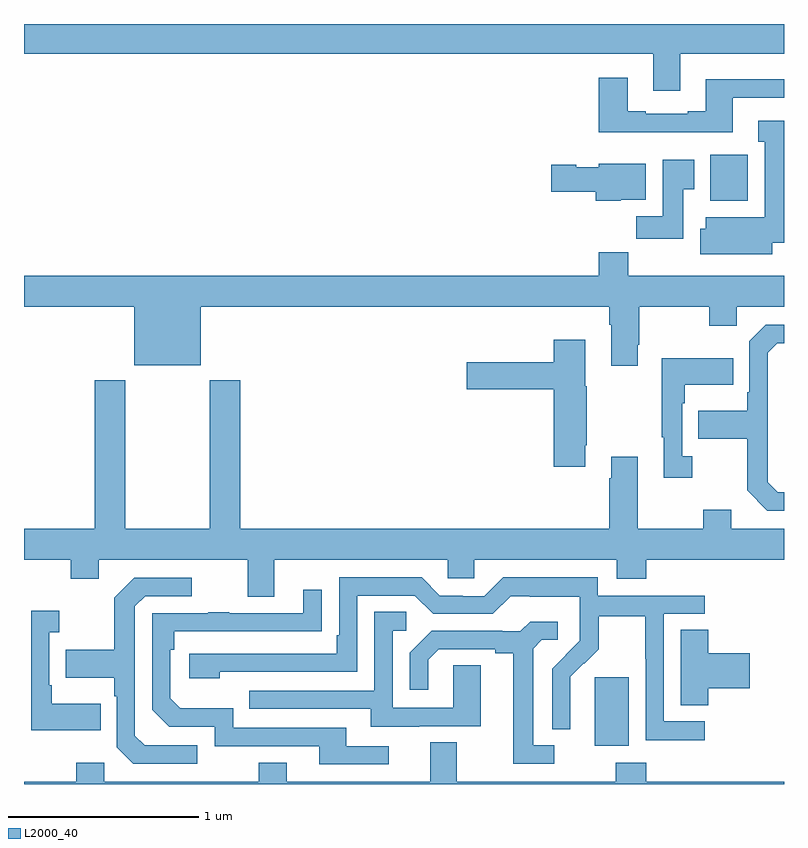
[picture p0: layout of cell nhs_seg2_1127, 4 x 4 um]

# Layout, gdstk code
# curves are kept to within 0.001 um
import gdstk
lib = gdstk.Library(unit=1e-6, precision=1e-09)
def R(c, l, rs):  # rectangles x0, y0, x1, y1
    for r in rs: c.add(gdstk.rectangle(r[:2], r[2:], *l))
def P(c, l, *ps):  # polygons
    for p in ps: c.add(gdstk.Polygon(p, *l))
L2000_40 = (2000, 40)

nhs_seg2_1127 = lib.new_cell('nhs_seg2_1127')
R(nhs_seg2_1127, L2000_40, [(172.004,636.002,172.183,636.363), (172.613,638.87,172.81,639.112)])
P(nhs_seg2_1127, L2000_40, [(172.453,639.644),(173,639.644),(173,639.8),(169,639.8),(169,639.644),(172.313,639.644),(172.313,639.45),(172.453,639.45)],
  [(172.729,639.411),(173,639.411),(173,639.508),(172.589,639.508),(172.589,639.34),(172.493,639.34),(172.493,639.327),(172.273,639.327),(172.273,639.34),(172.177,639.34),(172.177,639.517),(172.025,639.517),(172.025,639.23),(172.729,639.23)],
  [(172.939,638.648),(173,638.648),(173,639.292),(172.865,639.292),(172.865,639.179),(172.898,639.179),(172.898,638.782),(172.589,638.782),(172.589,638.723),(172.559,638.723),(172.559,638.588),(172.939,638.588)],
  [(172.471,638.929),(172.528,638.929),(172.528,639.085),(172.361,639.085),(172.361,638.788),(172.222,638.788),(172.222,638.67),(172.471,638.67)],
  [(172.14,638.876),(172.273,638.876),(172.273,639.064),(172.026,639.064),(172.026,639.046),(171.906,639.046),(171.906,639.059),(171.774,639.059),(171.774,638.917),(172.01,638.917),(172.01,638.87),(172.14,638.87)],
  [(172.231,638.113),(172.239,638.113),(172.239,638.312),(172.606,638.312),(172.606,638.213),(172.752,638.213),(172.752,638.312),(173,638.312),(173,638.476),(172.181,638.476),(172.181,638.6),(172.025,638.6),(172.025,638.476),(169,638.476),(169,638.312),(169.58,638.312),(169.58,638.003),(169.93,638.003),(169.93,638.312),(172.079,638.312),(172.079,638.216),(172.091,638.216),(172.091,638.001),(172.231,638.001)],
  [(173,637.335),(172.968,637.335),(172.914,637.389),(172.914,638.07),(172.965,638.121),(173,638.121),(173,638.217),(172.905,638.217),(172.818,638.13),(172.818,637.861),(172.806,637.861),(172.806,637.765),(172.549,637.765),(172.549,637.618),(172.806,637.618),(172.806,637.345),(172.911,637.239),(173,637.239)],
  [(171.955,637.582),(171.963,637.582),(171.963,637.893),(171.955,637.893),(171.955,638.137),(171.788,638.137),(171.788,638.019),(171.33,638.019),(171.33,637.877),(171.788,637.877),(171.788,637.47),(171.955,637.47)],
  [(172.516,637.526),(172.464,637.526),(172.464,637.805),(172.477,637.805),(172.477,637.901),(172.733,637.901),(172.733,638.041),(172.356,638.041),(172.356,637.625),(172.367,637.625),(172.367,637.413),(172.516,637.413)],
  [(172.121,636.881),(172.274,636.881),(172.274,636.98),(173,636.98),(173,637.144),(172.723,637.144),(172.723,637.243),(172.576,637.243),(172.576,637.144),(172.231,637.144),(172.231,637.522),(172.091,637.522),(172.091,637.409),(172.079,637.409),(172.079,637.144),(170.138,637.144),(170.138,637.924),(169.978,637.924),(169.978,637.144),(169.533,637.144),(169.533,637.924),(169.373,637.924),(169.373,637.144),(169,637.144),(169,636.98),(169.246,636.98),(169.246,636.881),(169.393,636.881),(169.393,636.98),(170.177,636.98),(170.177,636.786),(170.317,636.786),(170.317,636.98),(171.231,636.98),(171.231,636.882),(171.369,636.882),(171.369,636.98),(172.121,636.98)],
  [(172.582,636.129),(172.368,636.129),(172.368,636.696),(172.582,636.696),(172.582,636.792),(172.02,636.792),(172.02,636.889),(171.523,636.889),(171.423,636.789),(171.308,636.789),(171.308,636.792),(171.189,636.792),(171.093,636.888),(170.658,636.888),(170.658,636.583),(170.645,636.583),(170.645,636.486),(169.869,636.486),(169.869,636.356),(170.03,636.356),(170.03,636.39),(170.754,636.39),(170.754,636.792),(171.057,636.792),(171.153,636.696),(171.468,636.696),(171.561,636.789),(171.661,636.789),(171.661,636.785),(171.924,636.785),(171.924,636.651),(171.926,636.651),(171.926,636.554),(171.78,636.406),(171.78,636.088),(171.876,636.088),(171.875,636.365),(171.945,636.435),(171.948,636.432),(172.025,636.509),(172.025,636.684),(172.27,636.684),(172.27,636.46),(172.272,636.46),(172.272,636.031),(172.582,636.031)],
  [(169.912,636.003),(169.635,636.003),(169.584,636.054),(169.584,636.735),(169.638,636.789),(169.882,636.789),(169.882,636.885),(169.581,636.885),(169.476,636.779),(169.476,636.507),(169.219,636.507),(169.219,636.359),(169.476,636.359),(169.476,636.263),(169.488,636.263),(169.488,635.994),(169.575,635.907),(169.912,635.907)],
  [(170.92,636),(170.695,636),(170.695,636.096),(170.1,636.096),(170.1,636.199),(169.823,636.199),(169.77,636.252),(169.77,636.506),(169.79,636.506),(169.79,636.603),(170.567,636.604),(170.567,636.823),(170.471,636.823),(170.471,636.699),(170.081,636.699),(170.081,636.704),(169.969,636.704),(169.969,636.699),(169.674,636.699),(169.674,636.192),(169.764,636.102),(170.004,636.102),(170.004,636),(170.555,636),(170.555,635.904),(170.92,635.904)],
  [(169.403,636.223),(169.147,636.223),(169.147,636.319),(169.134,636.319),(169.134,636.599),(169.186,636.599),(169.186,636.712),(169.037,636.712),(169.037,636.083),(169.403,636.083)],
  [(171.079,636.105),(171.403,636.105),(171.403,636.425),(171.258,636.425),(171.258,636.201),(170.94,636.201),(170.94,636.606),(171.013,636.606),(171.013,636.707),(170.844,636.707),(170.844,636.291),(170.185,636.291),(170.185,636.195),(170.825,636.195),(170.825,636.101),(171.079,636.101)],
  [(171.79,636.003),(171.679,636.003),(171.679,636.511),(171.726,636.558),(171.808,636.558),(171.808,636.655),(171.664,636.655),(171.612,636.603),(171.518,636.603),(171.518,636.606),(171.146,636.606),(171.03,636.49),(171.03,636.297),(171.127,636.297),(171.127,636.453),(171.184,636.51),(171.479,636.51),(171.479,636.488),(171.575,636.488),(171.575,635.907),(171.79,635.907)],
  [(172.601,636.305),(172.819,636.305),(172.819,636.488),(172.601,636.488),(172.601,636.611),(172.457,636.611),(172.457,636.214),(172.601,636.214)],
  [(173,635.812),(172.274,635.812),(172.274,635.911),(172.114,635.911),(172.114,635.812),(171.277,635.812),(171.277,636.02),(171.137,636.02),(171.137,635.812),(170.383,635.812),(170.383,635.911),(170.236,635.911),(170.236,635.812),(169.422,635.812),(169.422,635.911),(169.276,635.911),(169.276,635.812),(169,635.812),(169,635.8),(173,635.8)])

lib.write_gds('nhs_seg2_1127.gds')
